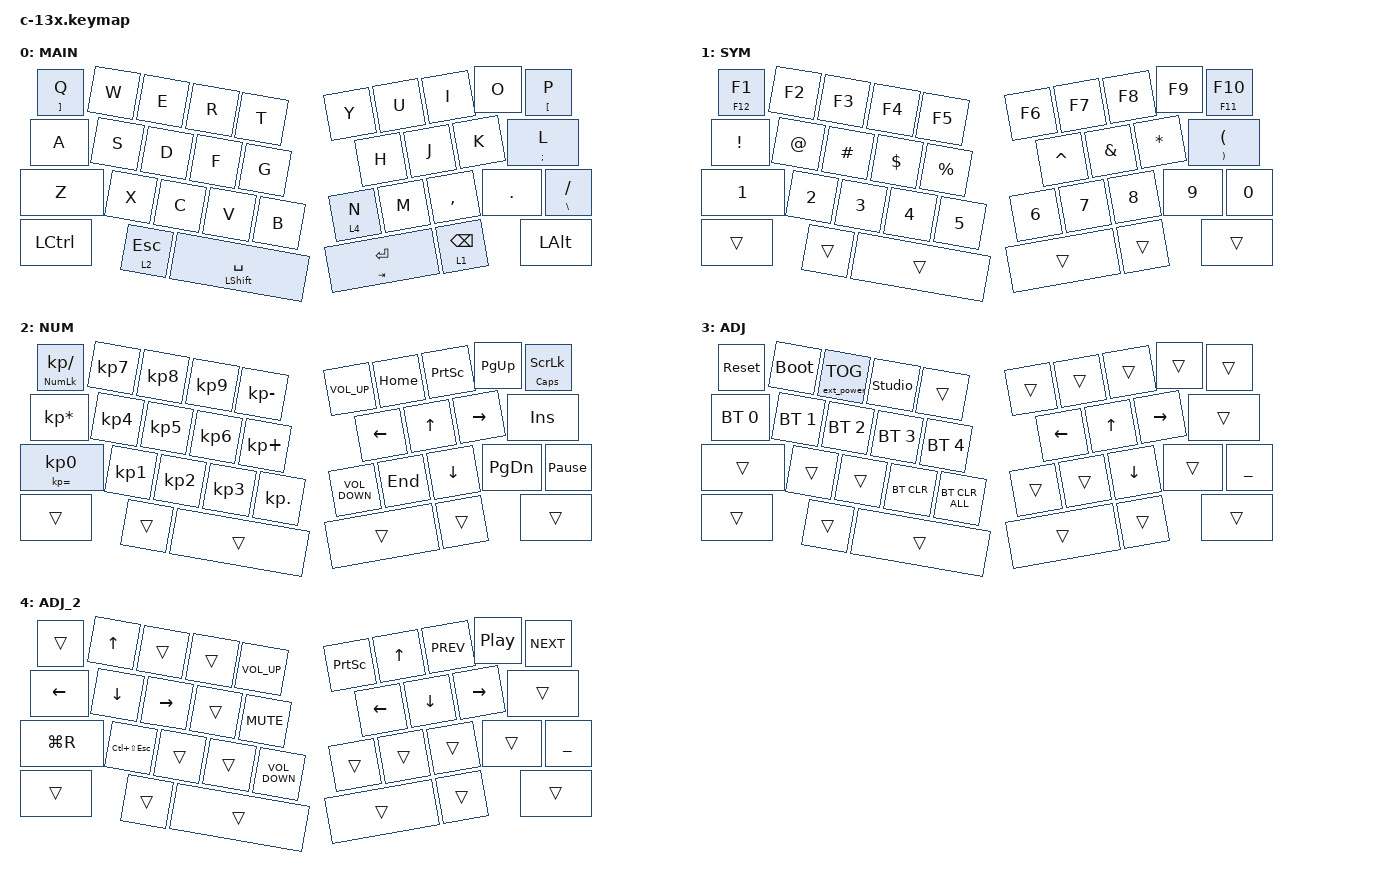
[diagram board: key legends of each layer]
/*
 * Copyright (c) 2020 The ZMK Contributors
 *
 * SPDX-License-Identifier: MIT
 */

#include <behaviors.dtsi>
#include <dt-bindings/zmk/bt.h>
#include <dt-bindings/zmk/ext_power.h>
#include <dt-bindings/zmk/keys.h>


&lt { quick-tap-ms = <200>; };

&mt {
    quick-tap-ms = <200>;
    tapping-term-ms = <175>;
};

/ {
    combos {
        compatible = "zmk,combos";

        apostrophe {
            bindings = <&kp SQT>;
            key-positions = <18 33>;
        };

        delete {
            bindings = <&kp DELETE>;
            key-positions = <32 33>;
        };

        win {
            bindings = <&kp LEFT_GUI>;
            key-positions = <27 28>;
        };

        language {
            bindings = <&kp LS(LEFT_ALT)>;
            key-positions = <34 32>;
            require-prior-idle-ms = <165>;
        };
    };

/ {
    chosen {
        zmk,physical-layout = &physical_layout_0;
    };

    keymap {
        compatible = "zmk,keymap";

        default_layer {
            bindings = <
&mt RIGHT_BRACKET Q  &kp W      &kp E  &kp R             &kp T  &kp Y          &kp U  &kp I            &kp O    &mt LEFT_BRACKET P
&kp A                &kp S      &kp D  &kp F             &kp G  &kp H          &kp J  &kp K                     &mt SEMICOLON L
&kp Z                &kp X      &kp C  &kp V             &kp B  &lt 4 N        &kp M  &kp COMMA        &kp DOT  &mt BACKSLASH SLASH
&kp LCTRL            &lt 2 ESC         &mt LSHIFT SPACE         &mt TAB ENTER         &lt 1 BACKSPACE           &kp LALT
            >;

            label = "MAIN";
        };

        lower_layer {
            bindings = <
&mt F12 F1       &kp F2       &kp F3    &kp F4      &kp F5       &kp F6     &kp F7         &kp F8        &kp F9  &mt F11 F10
&kp EXCLAMATION  &kp AT_SIGN  &kp HASH  &kp DOLLAR  &kp PERCENT  &kp CARET  &kp AMPERSAND  &kp ASTERISK          &mt RIGHT_PARENTHESIS LEFT_PARENTHESIS
&kp N1           &kp N2       &kp N3    &kp N4      &kp N5       &kp N6     &kp N7         &kp N8        &kp N9  &kp N0
&trans           &trans                 &trans                   &trans                    &trans                &trans
            >;

            label = "SYM";
        };

        raise_layer {
            bindings = <
&mt KP_NUMLOCK KP_SLASH   &kp KP_NUMBER_7  &kp KP_NUMBER_8  &kp KP_NUMBER_9  &kp KP_MINUS  &kp C_VOLUME_UP    &kp HOME      &kp PRINTSCREEN  &kp PG_UP      &mt CAPS SCROLLLOCK
&kp KP_MULTIPLY           &kp KP_NUMBER_4  &kp KP_NUMBER_5  &kp KP_NUMBER_6  &kp KP_PLUS   &kp LEFT           &kp UP_ARROW  &kp RIGHT_ARROW                 &kp INSERT
&mt KP_EQUAL KP_NUMBER_0  &kp KP_NUMBER_1  &kp KP_NUMBER_2  &kp KP_NUMBER_3  &kp KP_DOT    &kp C_VOLUME_DOWN  &kp END       &kp DOWN_ARROW   &kp PAGE_DOWN  &kp PAUSE_BREAK
&trans                    &trans                            &trans                         &trans                           &trans                          &trans
            >;

            label = "NUM";
        };

        adjust_layer {
            bindings = <
&sys_reset    &bootloader   &ext_power EP_TOG  &studio_unlock  &trans          &trans    &trans        &trans     &trans  &trans
&bt BT_SEL 0  &bt BT_SEL 1  &bt BT_SEL 2       &bt BT_SEL 3    &bt BT_SEL 4    &kp LEFT  &kp UP_ARROW  &kp RIGHT          &trans
&trans        &trans        &trans             &bt BT_CLR      &bt BT_CLR_ALL  &trans    &trans        &kp DOWN   &trans  &kp UNDERSCORE
&trans        &trans                           &trans                          &trans                  &trans             &trans
            >;

            label = "ADJ";
        };

        adjust_layer_2 {
            bindings = <
&trans     &kp UP           &trans     &trans  &kp C_VOLUME_UP    &kp PRINTSCREEN  &kp UP_ARROW    &kp C_PREV  &kp C_PLAY_PAUSE  &kp C_NEXT
&kp LEFT   &kp DOWN         &kp RIGHT  &trans  &kp C_MUTE         &kp LEFT         &kp DOWN_ARROW  &kp RIGHT                     &trans
&kp LG(R)  &kp LC(LS(ESC))  &trans     &trans  &kp C_VOLUME_DOWN  &trans           &trans          &trans      &trans            &kp UNDERSCORE
&trans     &trans                      &trans                     &trans                           &trans                        &trans
            >;

            label = "ADJ_2";
        };
    };

    conditional_layers {
        compatible = "zmk,conditional-layers";

        adjust {
            if-layers = <1 2>;
            then-layer = <3>;
        };

        adjust2 {
            if-layers = <4>;
            then-layer = <4>;
        };
    };
};
